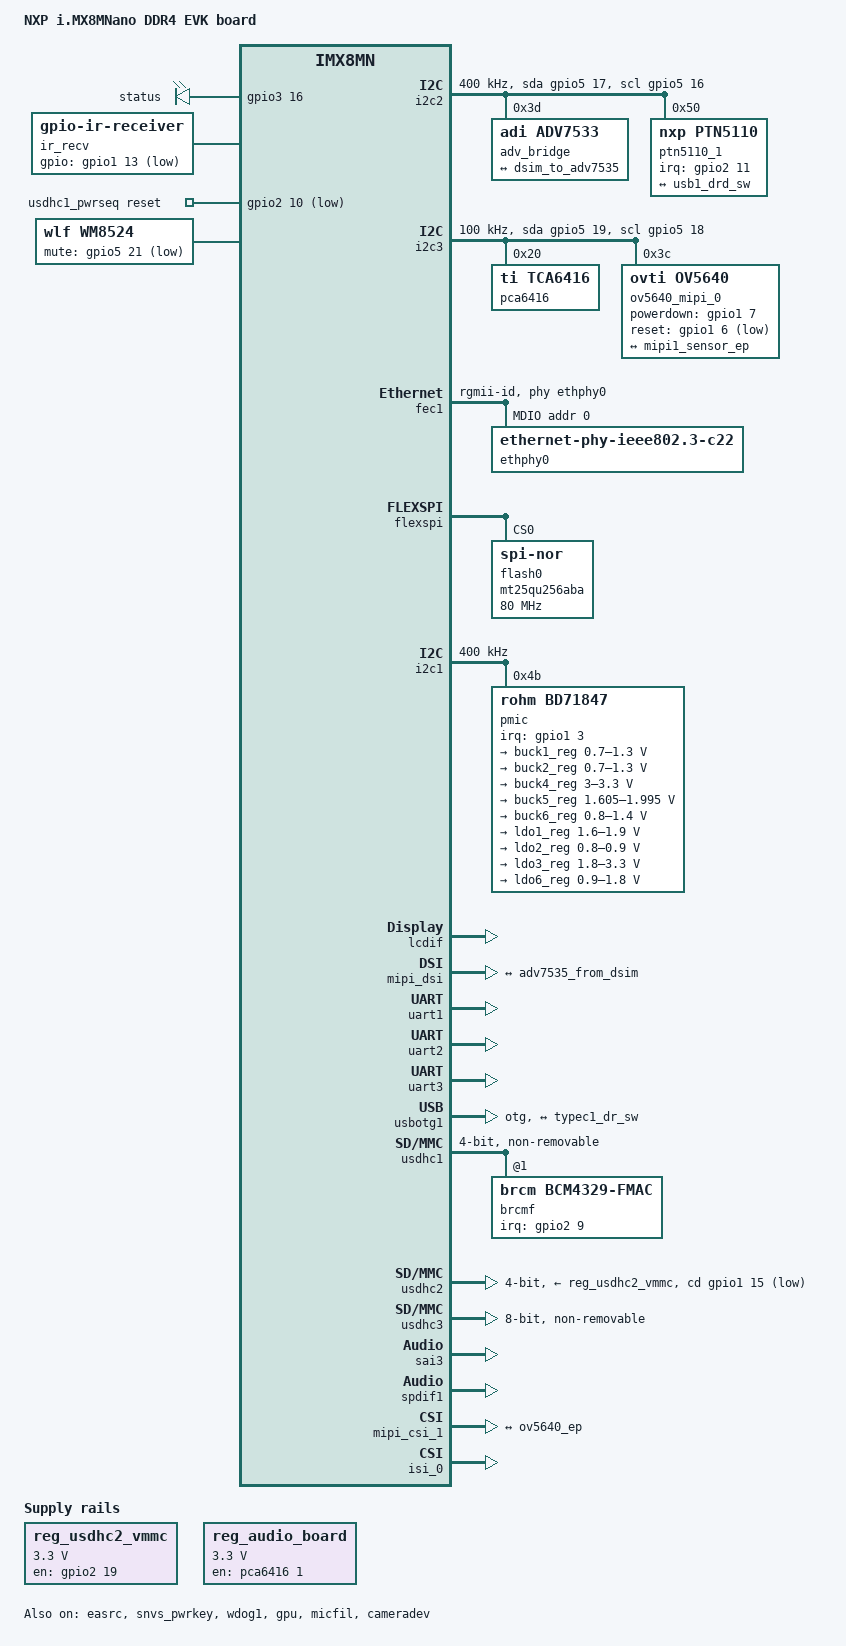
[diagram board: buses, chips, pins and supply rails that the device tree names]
// SPDX-License-Identifier: (GPL-2.0+ OR MIT)
/*
 * Copyright 2019 NXP
 */

/dts-v1/;

#include <dt-bindings/usb/pd.h>
#include "imx8mn.dtsi"

/ {
	trusty {
		compatible = "android,trusty-smc-v1";
		ranges;
		#address-cells = <2>;
		#size-cells = <2>;
		trusty-irq {
			compatible = "android,trusty-irq-v1";
			interrupt-templates = <&trusty_ipi 0>;
			interrupt-ranges = < 0 15 0>;
		};
		trusty-virtio {
			compatible = "android,trusty-virtio-v1";
		};
		trusty-log {
			compatible = "android,trusty-log-v1";
		};
	};
	trusty_ipi: interrupt-controller@0 {
		compatible = "android,CustomIPI";
		interrupt-controller;
		#interrupt-cells = <1>;
	};
};

/ {
	model = "NXP i.MX8MNano DDR4 EVK board";
	compatible = "fsl,imx8mn-ddr4-evk", "fsl,imx8mn";

	chosen {
		stdout-path = &uart2;
	};

	leds {
		compatible = "gpio-leds";
		pinctrl-names = "default";
		pinctrl-0 = <&pinctrl_gpio_led>;

		status {
			label = "status";
			gpios = <&gpio3 16 GPIO_ACTIVE_HIGH>;
			default-state = "on";
		};
	};

	ir_recv: ir-receiver {
		compatible = "gpio-ir-receiver";
		gpios = <&gpio1 13 GPIO_ACTIVE_LOW>;
		pinctrl-names = "default";
		pinctrl-0 = <&pinctrl_ir_recv>;
	};

	usdhc1_pwrseq: usdhc1_pwrseq {
		compatible = "mmc-pwrseq-simple";
		pinctrl-names = "default";
		pinctrl-0 = <&pinctrl_usdhc1_gpio>;
		reset-gpios = <&gpio2 10 GPIO_ACTIVE_LOW>;
	};

	reg_usdhc2_vmmc: regulator-usdhc2 {
		compatible = "regulator-fixed";
		pinctrl-names = "default";
		pinctrl-0 = <&pinctrl_reg_usdhc2_vmmc>;
		regulator-name = "VSD_3V3";
		regulator-min-microvolt = <3300000>;
		regulator-max-microvolt = <3300000>;
		gpio = <&gpio2 19 GPIO_ACTIVE_HIGH>;
		off-on-delay-us = <12000>;
		enable-active-high;
	};

	reg_audio_board: regulator-audio-board {
		compatible = "regulator-fixed";
		regulator-name = "EXT_PWREN";
		regulator-min-microvolt = <3300000>;
		regulator-max-microvolt = <3300000>;
		enable-active-high;
		startup-delay-us = <300000>;
		gpio = <&pca6416 1 GPIO_ACTIVE_HIGH>;
	};

	wm8524: audio-codec {
		#sound-dai-cells = <0>;
		compatible = "wlf,wm8524";
		pinctrl-names = "default";
		pinctrl-0 = <&pinctrl_gpio_wlf>;
		wlf,mute-gpios = <&gpio5 21 GPIO_ACTIVE_LOW>;
		clocks = <&clk IMX8MN_CLK_SAI3_ROOT>;
		clock-names = "mclk";
	};

	sound-wm8524 {
		compatible = "fsl,imx-audio-wm8524";
		model = "wm8524-audio";
		audio-cpu = <&sai3>;
		audio-codec = <&wm8524>;
		audio-routing =
			"Line Out Jack", "LINEVOUTL",
			"Line Out Jack", "LINEVOUTR";
		asrc-controller = <&easrc>;
	};

	sound-micfil {
		compatible = "fsl,imx-audio-micfil";
		model = "imx-audio-micfil";
		cpu-dai = <&micfil>;
	};

	sound-spdif {
		compatible = "fsl,imx-audio-spdif";
		model = "imx-spdif";
		spdif-controller = <&spdif1>;
		spdif-out;
		spdif-in;
	};

	sound-ak5558 {
		compatible = "fsl,imx-audio-ak5558";
		model = "ak5558-audio";
		audio-cpu = <&sai5>;
		audio-codec = <&ak5558>;
		status = "disabled";
	};
};

&clk {
	assigned-clocks = <&clk IMX8MN_AUDIO_PLL1>, <&clk IMX8MN_AUDIO_PLL2>;
	assigned-clock-rates = <393216000>, <361267200>;
};

&easrc {
	fsl,asrc-rate  = <48000>;
	status = "okay";
};

&A53_0 {
	cpu-supply = <&buck2_reg>;
};

&iomuxc {
	pinctrl-names = "default";

	pinctrl_ir_recv: ir-recv {
		fsl,pins = <
			MX8MN_IOMUXC_GPIO1_IO13_GPIO1_IO13              0x4f
		>;
	};

	pinctrl_fec1: fec1grp {
		fsl,pins = <
			MX8MN_IOMUXC_ENET_MDC_ENET1_MDC		0x3
			MX8MN_IOMUXC_ENET_MDIO_ENET1_MDIO	0x3
			MX8MN_IOMUXC_ENET_TD3_ENET1_RGMII_TD3	0x1f
			MX8MN_IOMUXC_ENET_TD2_ENET1_RGMII_TD2	0x1f
			MX8MN_IOMUXC_ENET_TD1_ENET1_RGMII_TD1	0x1f
			MX8MN_IOMUXC_ENET_TD0_ENET1_RGMII_TD0	0x1f
			MX8MN_IOMUXC_ENET_RD3_ENET1_RGMII_RD3	0x91
			MX8MN_IOMUXC_ENET_RD2_ENET1_RGMII_RD2	0x91
			MX8MN_IOMUXC_ENET_RD1_ENET1_RGMII_RD1	0x91
			MX8MN_IOMUXC_ENET_RD0_ENET1_RGMII_RD0	0x91
			MX8MN_IOMUXC_ENET_TXC_ENET1_RGMII_TXC	0x1f
			MX8MN_IOMUXC_ENET_RXC_ENET1_RGMII_RXC	0x91
			MX8MN_IOMUXC_ENET_RX_CTL_ENET1_RGMII_RX_CTL	0x91
			MX8MN_IOMUXC_ENET_TX_CTL_ENET1_RGMII_TX_CTL	0x1f
			MX8MN_IOMUXC_SAI2_RXC_GPIO4_IO22	0x19
		>;
	};

	pinctrl_flexspi0: flexspi0grp {
		fsl,pins = <
			MX8MN_IOMUXC_NAND_ALE_QSPI_A_SCLK 0x1c4
			MX8MN_IOMUXC_NAND_CE0_B_QSPI_A_SS0_B 0x84
			MX8MN_IOMUXC_NAND_DATA00_QSPI_A_DATA0 0x84
			MX8MN_IOMUXC_NAND_DATA01_QSPI_A_DATA1 0x84
			MX8MN_IOMUXC_NAND_DATA02_QSPI_A_DATA2 0x84
			MX8MN_IOMUXC_NAND_DATA03_QSPI_A_DATA3 0x84
		>;
	};

	pinctrl_mipi_dsi_en: mipi_dsi_en {
		fsl,pins = <
			MX8MN_IOMUXC_GPIO1_IO08_GPIO1_IO8		0x16
		>;
	};

	pinctrl_i2c1: i2c1grp {
		fsl,pins = <
			MX8MN_IOMUXC_I2C1_SCL_I2C1_SCL		0x400001c3
			MX8MN_IOMUXC_I2C1_SDA_I2C1_SDA		0x400001c3
		>;
	};

	pinctrl_pmic: pmicirq {
		fsl,pins = <
			MX8MN_IOMUXC_GPIO1_IO03_GPIO1_IO3	0x41
		>;
	};

	pinctrl_gpio_led: gpioledgrp {
		fsl,pins = <
			MX8MN_IOMUXC_NAND_READY_B_GPIO3_IO16	0x19
		>;
	};

	pinctrl_gpio_wlf: gpiowlfgrp {
		fsl,pins = <
			MX8MN_IOMUXC_I2C4_SDA_GPIO5_IO21	0xd6
		>;
	};

	pinctrl_i2c2: i2c2grp {
		fsl,pins = <
			MX8MN_IOMUXC_I2C2_SCL_I2C2_SCL			0x400001c3
			MX8MN_IOMUXC_I2C2_SDA_I2C2_SDA			0x400001c3
		>;
	};

	pinctrl_i2c3: i2c3grp {
		fsl,pins = <
			MX8MN_IOMUXC_I2C3_SCL_I2C3_SCL			0x400001c3
			MX8MN_IOMUXC_I2C3_SDA_I2C3_SDA			0x400001c3
		>;
	};

	pinctrl_i2c2_gpio: i2c2grp-gpio {
		fsl,pins = <
			MX8MN_IOMUXC_I2C2_SCL_GPIO5_IO16		0x1c3
			MX8MN_IOMUXC_I2C2_SDA_GPIO5_IO17		0x1c3
		>;
	};

	pinctrl_i2c3_gpio: i2c3grp-gpio {
		fsl,pins = <
			MX8MN_IOMUXC_I2C3_SCL_GPIO5_IO18		0x1c3
			MX8MN_IOMUXC_I2C3_SDA_GPIO5_IO19		0x1c3
		>;
	};

	pinctrl_i2c2_synaptics_dsx_io: synaptics_dsx_iogrp {
		fsl,pins = <
			MX8MN_IOMUXC_GPIO1_IO09_GPIO1_IO9		0x19
		>;
	};

	pinctrl_pdm: pdmgrp {
		fsl,pins = <
			MX8MN_IOMUXC_SAI5_MCLK_SAI5_MCLK	0xd6
			MX8MN_IOMUXC_SAI5_RXC_PDM_CLK		0xd6
			MX8MN_IOMUXC_SAI5_RXFS_SAI5_RX_SYNC	0xd6
			MX8MN_IOMUXC_SAI5_RXD0_PDM_BIT_STREAM0	0xd6
			MX8MN_IOMUXC_SAI5_RXD1_PDM_BIT_STREAM1	0xd6
			MX8MN_IOMUXC_SAI5_RXD2_PDM_BIT_STREAM2	0xd6
			MX8MN_IOMUXC_SAI5_RXD3_PDM_BIT_STREAM3	0xd6
		>;
	};

	pinctrl_sai3: sai3grp {
		fsl,pins = <
			MX8MN_IOMUXC_SAI3_TXFS_SAI3_TX_SYNC     0xd6
			MX8MN_IOMUXC_SAI3_TXC_SAI3_TX_BCLK      0xd6
			MX8MN_IOMUXC_SAI3_MCLK_SAI3_MCLK        0xd6
			MX8MN_IOMUXC_SAI3_TXD_SAI3_TX_DATA0     0xd6
		>;
	};

	pinctrl_sai5: sai5grp {
		fsl,pins = <
			MX8MN_IOMUXC_SAI5_MCLK_SAI5_MCLK	0xd6
			MX8MN_IOMUXC_SAI5_RXC_SAI5_RX_BCLK	0xd6
			MX8MN_IOMUXC_SAI5_RXFS_SAI5_RX_SYNC	0xd6
			MX8MN_IOMUXC_SAI5_RXD0_SAI5_RX_DATA0	0xd6
			MX8MN_IOMUXC_SAI5_RXD1_SAI5_RX_DATA1    0xd6
			MX8MN_IOMUXC_SAI5_RXD2_SAI5_RX_DATA2    0xd6
			MX8MN_IOMUXC_SAI5_RXD3_SAI5_RX_DATA3    0xd6
		>;
	};

	pinctrl_spdif1: spdif1grp {
		fsl,pins = <
			MX8MN_IOMUXC_SPDIF_TX_SPDIF1_OUT	0xd6
			MX8MN_IOMUXC_SPDIF_RX_SPDIF1_IN		0xd6
		>;
	};

	pinctrl_typec1: typec1grp {
		fsl,pins = <
			MX8MN_IOMUXC_SD1_STROBE_GPIO2_IO11	0x159
		>;
	};

	pinctrl_reg_usdhc2_vmmc: regusdhc2vmmc {
		fsl,pins = <
			MX8MN_IOMUXC_SD2_RESET_B_GPIO2_IO19	0x41
		>;
	};

	pinctrl_uart1: uart1grp {
		fsl,pins = <
			MX8MN_IOMUXC_UART1_RXD_UART1_DCE_RX	0x140
			MX8MN_IOMUXC_UART1_TXD_UART1_DCE_TX	0x140
			MX8MN_IOMUXC_UART3_RXD_UART1_DCE_CTS_B	0x140
			MX8MN_IOMUXC_UART3_TXD_UART1_DCE_RTS_B	0x140
			MX8MN_IOMUXC_SD1_DATA4_GPIO2_IO6	0x19
		>;
	};

	pinctrl_uart2: uart2grp {
		fsl,pins = <
			MX8MN_IOMUXC_UART2_RXD_UART2_DCE_RX	0x140
			MX8MN_IOMUXC_UART2_TXD_UART2_DCE_TX	0x140
		>;
	};

	pinctrl_uart3: uart3grp {
		fsl,pins = <
			MX8MN_IOMUXC_ECSPI1_SCLK_UART3_DCE_RX		0x140
			MX8MN_IOMUXC_ECSPI1_MOSI_UART3_DCE_TX		0x140
			MX8MN_IOMUXC_ECSPI1_SS0_UART3_DCE_RTS_B		0x140
			MX8MN_IOMUXC_ECSPI1_MISO_UART3_DCE_CTS_B	0x140
		>;
	};

	pinctrl_usdhc1_gpio: usdhc1grpgpio {
		fsl,pins = <
			MX8MN_IOMUXC_SD1_RESET_B_GPIO2_IO10	0x41
		>;
	};

	pinctrl_usdhc1: usdhc1grp {
		fsl,pins = <
			MX8MN_IOMUXC_SD1_CLK_USDHC1_CLK		0x190
			MX8MN_IOMUXC_SD1_CMD_USDHC1_CMD		0x1d0
			MX8MN_IOMUXC_SD1_DATA0_USDHC1_DATA0	0x1d0
			MX8MN_IOMUXC_SD1_DATA1_USDHC1_DATA1	0x1d0
			MX8MN_IOMUXC_SD1_DATA2_USDHC1_DATA2	0x1d0
			MX8MN_IOMUXC_SD1_DATA3_USDHC1_DATA3	0x1d0
		>;
	};

	pinctrl_usdhc1_100mhz: usdhc1grp100mhz {
		fsl,pins = <
			MX8MN_IOMUXC_SD1_CLK_USDHC1_CLK		0x194
			MX8MN_IOMUXC_SD1_CMD_USDHC1_CMD		0x1d4
			MX8MN_IOMUXC_SD1_DATA0_USDHC1_DATA0	0x1d4
			MX8MN_IOMUXC_SD1_DATA1_USDHC1_DATA1	0x1d4
			MX8MN_IOMUXC_SD1_DATA2_USDHC1_DATA2	0x1d4
			MX8MN_IOMUXC_SD1_DATA3_USDHC1_DATA3	0x1d4
		>;
	};

	pinctrl_usdhc1_200mhz: usdhc1grp200mhz {
		fsl,pins = <
			MX8MN_IOMUXC_SD1_CLK_USDHC1_CLK		0x196
			MX8MN_IOMUXC_SD1_CMD_USDHC1_CMD		0x1d6
			MX8MN_IOMUXC_SD1_DATA0_USDHC1_DATA0	0x1d6
			MX8MN_IOMUXC_SD1_DATA1_USDHC1_DATA1	0x1d6
			MX8MN_IOMUXC_SD1_DATA2_USDHC1_DATA2	0x1d6
			MX8MN_IOMUXC_SD1_DATA3_USDHC1_DATA3	0x1d6
		>;
	};

	pinctrl_usdhc2_gpio: usdhc2grpgpio {
		fsl,pins = <
			MX8MN_IOMUXC_GPIO1_IO15_GPIO1_IO15	0x1c4
		>;
	};

	pinctrl_usdhc2: usdhc2grp {
		fsl,pins = <
			MX8MN_IOMUXC_SD2_CLK_USDHC2_CLK		0x190
			MX8MN_IOMUXC_SD2_CMD_USDHC2_CMD		0x1d0
			MX8MN_IOMUXC_SD2_DATA0_USDHC2_DATA0	0x1d0
			MX8MN_IOMUXC_SD2_DATA1_USDHC2_DATA1	0x1d0
			MX8MN_IOMUXC_SD2_DATA2_USDHC2_DATA2	0x1d0
			MX8MN_IOMUXC_SD2_DATA3_USDHC2_DATA3	0x1d0
			MX8MN_IOMUXC_GPIO1_IO04_USDHC2_VSELECT	0x1d0
		>;
	};

	pinctrl_usdhc2_100mhz: usdhc2grp100mhz {
		fsl,pins = <
			MX8MN_IOMUXC_SD2_CLK_USDHC2_CLK		0x194
			MX8MN_IOMUXC_SD2_CMD_USDHC2_CMD		0x1d4
			MX8MN_IOMUXC_SD2_DATA0_USDHC2_DATA0	0x1d4
			MX8MN_IOMUXC_SD2_DATA1_USDHC2_DATA1	0x1d4
			MX8MN_IOMUXC_SD2_DATA2_USDHC2_DATA2	0x1d4
			MX8MN_IOMUXC_SD2_DATA3_USDHC2_DATA3	0x1d4
			MX8MN_IOMUXC_GPIO1_IO04_USDHC2_VSELECT	0x1d0
		>;
	};

	pinctrl_usdhc2_200mhz: usdhc2grp200mhz {
		fsl,pins = <
			MX8MN_IOMUXC_SD2_CLK_USDHC2_CLK		0x196
			MX8MN_IOMUXC_SD2_CMD_USDHC2_CMD		0x1d6
			MX8MN_IOMUXC_SD2_DATA0_USDHC2_DATA0	0x1d6
			MX8MN_IOMUXC_SD2_DATA1_USDHC2_DATA1	0x1d6
			MX8MN_IOMUXC_SD2_DATA2_USDHC2_DATA2	0x1d6
			MX8MN_IOMUXC_SD2_DATA3_USDHC2_DATA3	0x1d6
			MX8MN_IOMUXC_GPIO1_IO04_USDHC2_VSELECT	0x1d0
		>;
	};

	pinctrl_usdhc3: usdhc3grp {
		fsl,pins = <
			MX8MN_IOMUXC_NAND_WE_B_USDHC3_CLK		0x40000190
			MX8MN_IOMUXC_NAND_WP_B_USDHC3_CMD		0x1d0
			MX8MN_IOMUXC_NAND_DATA04_USDHC3_DATA0		0x1d0
			MX8MN_IOMUXC_NAND_DATA05_USDHC3_DATA1		0x1d0
			MX8MN_IOMUXC_NAND_DATA06_USDHC3_DATA2		0x1d0
			MX8MN_IOMUXC_NAND_DATA07_USDHC3_DATA3		0x1d0
			MX8MN_IOMUXC_NAND_RE_B_USDHC3_DATA4		0x1d0
			MX8MN_IOMUXC_NAND_CE2_B_USDHC3_DATA5		0x1d0
			MX8MN_IOMUXC_NAND_CE3_B_USDHC3_DATA6		0x1d0
			MX8MN_IOMUXC_NAND_CLE_USDHC3_DATA7		0x1d0
			MX8MN_IOMUXC_NAND_CE1_B_USDHC3_STROBE		0x190
		>;
	};

	pinctrl_usdhc3_100mhz: usdhc3grp100mhz {
		fsl,pins = <
			MX8MN_IOMUXC_NAND_WE_B_USDHC3_CLK		0x40000194
			MX8MN_IOMUXC_NAND_WP_B_USDHC3_CMD		0x1d4
			MX8MN_IOMUXC_NAND_DATA04_USDHC3_DATA0		0x1d4
			MX8MN_IOMUXC_NAND_DATA05_USDHC3_DATA1		0x1d4
			MX8MN_IOMUXC_NAND_DATA06_USDHC3_DATA2		0x1d4
			MX8MN_IOMUXC_NAND_DATA07_USDHC3_DATA3		0x1d4
			MX8MN_IOMUXC_NAND_RE_B_USDHC3_DATA4		0x1d4
			MX8MN_IOMUXC_NAND_CE2_B_USDHC3_DATA5		0x1d4
			MX8MN_IOMUXC_NAND_CE3_B_USDHC3_DATA6		0x1d4
			MX8MN_IOMUXC_NAND_CLE_USDHC3_DATA7		0x1d4
			MX8MN_IOMUXC_NAND_CE1_B_USDHC3_STROBE		0x194
		>;
	};

	pinctrl_usdhc3_200mhz: usdhc3grp200mhz {
		fsl,pins = <
			MX8MN_IOMUXC_NAND_WE_B_USDHC3_CLK		0x40000196
			MX8MN_IOMUXC_NAND_WP_B_USDHC3_CMD		0x1d6
			MX8MN_IOMUXC_NAND_DATA04_USDHC3_DATA0		0x1d6
			MX8MN_IOMUXC_NAND_DATA05_USDHC3_DATA1		0x1d6
			MX8MN_IOMUXC_NAND_DATA06_USDHC3_DATA2		0x1d6
			MX8MN_IOMUXC_NAND_DATA07_USDHC3_DATA3		0x1d6
			MX8MN_IOMUXC_NAND_RE_B_USDHC3_DATA4		0x1d6
			MX8MN_IOMUXC_NAND_CE2_B_USDHC3_DATA5		0x1d6
			MX8MN_IOMUXC_NAND_CE3_B_USDHC3_DATA6		0x1d6
			MX8MN_IOMUXC_NAND_CLE_USDHC3_DATA7		0x1d6
			MX8MN_IOMUXC_NAND_CE1_B_USDHC3_STROBE		0x196
		>;
	};

	pinctrl_wdog: wdoggrp {
		fsl,pins = <
			MX8MN_IOMUXC_GPIO1_IO02_WDOG1_WDOG_B		0xc6
		>;
	};

	pinctrl_wlan: wlangrp {
		fsl,pins = <
			MX8MN_IOMUXC_GPIO1_IO00_ANAMIX_REF_CLK_32K	0x141
			MX8MN_IOMUXC_SD1_DATA7_GPIO2_IO9		0x111
		>;
	};

	pinctrl_csi_pwn: csi_pwn_grp {
		fsl,pins = <
			MX8MN_IOMUXC_GPIO1_IO07_GPIO1_IO7		0x19
		>;
	};

	pinctrl_csi_rst: csi_rst_grp {
		fsl,pins = <
			MX8MN_IOMUXC_GPIO1_IO06_GPIO1_IO6		0x19
			MX8MN_IOMUXC_GPIO1_IO14_CCMSRCGPCMIX_CLKO1	0x59
		>;
	};
};

&i2c2 {
	clock-frequency = <400000>;
	pinctrl-names = "default", "gpio";
	pinctrl-0 = <&pinctrl_i2c2>;
	pinctrl-1 = <&pinctrl_i2c2_gpio>;
	scl-gpios = <&gpio5 16 GPIO_ACTIVE_HIGH>;
	sda-gpios = <&gpio5 17 GPIO_ACTIVE_HIGH>;
	status = "okay";

	adv_bridge: adv7535@3d {
		compatible = "adi,adv7533";
		reg = <0x3d>;
		adi,addr-cec = <0x3b>;
		adi,dsi-lanes = <4>;
		status = "okay";

		port {
			adv7535_from_dsim: endpoint {
				remote-endpoint = <&dsim_to_adv7535>;
			};
		};
	};

	ptn5110_1: tcpc@50 {
		compatible = "nxp,ptn5110";
		pinctrl-names = "default";
		pinctrl-0 = <&pinctrl_typec1>;
		reg = <0x50>;
		interrupt-parent = <&gpio2>;
		interrupts = <11 8>;
		status = "okay";

		port {
			typec1_dr_sw: endpoint {
				remote-endpoint = <&usb1_drd_sw>;
			};
		};

		typec1_con: connector {
			compatible = "usb-c-connector";
			label = "USB-C";
			power-role = "dual";
			data-role = "dual";
			try-power-role = "sink";
			source-pdos = <PDO_FIXED(5000, 3000, PDO_FIXED_USB_COMM)>;
			sink-pdos = <PDO_FIXED(5000, 3000, PDO_FIXED_USB_COMM)
				     PDO_VAR(5000, 20000, 3000)>;
			op-sink-microwatt = <15000000>;
			self-powered;
		};
	};
};

&i2c3 {
	clock-frequency = <100000>;
	pinctrl-names = "default", "gpio";
	pinctrl-0 = <&pinctrl_i2c3>;
	pinctrl-1 = <&pinctrl_i2c3_gpio>;
	scl-gpios = <&gpio5 18 GPIO_ACTIVE_HIGH>;
	sda-gpios = <&gpio5 19 GPIO_ACTIVE_HIGH>;
	status = "okay";

	pca6416: gpio@20 {
		compatible = "ti,tca6416";
		reg = <0x20>;
		gpio-controller;
		#gpio-cells = <2>;
	};

	ak4458_1: ak4458@10 {
		compatible = "asahi-kasei,ak4458";
		reg = <0x10>;
		AVDD-supply = <&reg_audio_board>;
		DVDD-supply = <&reg_audio_board>;
		status = "disabled";
	};

	ak4458_2: ak4458@12 {
		compatible = "asahi-kasei,ak4458";
		reg = <0x12>;
		AVDD-supply = <&reg_audio_board>;
		DVDD-supply = <&reg_audio_board>;
		status = "disabled";
	};

	ak5558: ak5558@13 {
		compatible = "asahi-kasei,ak5558";
		reg = <0x13>;
		ak5558,pdn-gpio = <&pca6416 3 GPIO_ACTIVE_HIGH>;
		AVDD-supply = <&reg_audio_board>;
		DVDD-supply = <&reg_audio_board>;
		status = "disabled";
	};

	ak4497: ak4497@11 {
		compatible = "asahi-kasei,ak4497";
		reg = <0x11>;
		ak4497,pdn-gpio = <&pca6416 5 GPIO_ACTIVE_HIGH>;
		AVDD-supply = <&reg_audio_board>;
		DVDD-supply = <&reg_audio_board>;
		status = "disabled";
	};

	ov5640_mipi_0: ov5640_mipi@3c {
		compatible = "ovti,ov5640";
		reg = <0x3c>;
		pinctrl-names = "default";
		pinctrl-0 = <&pinctrl_csi_pwn>, <&pinctrl_csi_rst>;
		clocks = <&clk IMX8MN_CLK_CLKO1>;
		clock-names = "xclk";
		assigned-clocks = <&clk IMX8MN_CLK_CLKO1>;
		assigned-clock-parents = <&clk IMX8MN_CLK_24M>;
		assigned-clock-rates = <24000000>;
		csi_id = <0>;
		powerdown-gpios = <&gpio1 7 GPIO_ACTIVE_HIGH>;
		reset-gpios = <&gpio1 6 GPIO_ACTIVE_LOW>;
		mclk = <24000000>;
		mclk_source = <0>;
		mipi_csi;
		status = "okay";
		port {
			ov5640_ep: endpoint {
				remote-endpoint = <&mipi1_sensor_ep>;
				data-lanes = <1 2>;
				clocks-lanes = <0>;
			};
		};
	};
};

&fec1 {
	pinctrl-names = "default";
	pinctrl-0 = <&pinctrl_fec1>;
	phy-mode = "rgmii-id";
	phy-handle = <&ethphy0>;
	fsl,magic-packet;
	status = "okay";

	mdio {
		#address-cells = <1>;
		#size-cells = <0>;

		ethphy0: ethernet-phy@0 {
			compatible = "ethernet-phy-ieee802.3-c22";
			reg = <0>;
			at803x,led-act-blind-workaround;
			at803x,eee-disabled;
			at803x,vddio-1p8v;
		};
	};
};

&flexspi {
	pinctrl-names = "default";
	pinctrl-0 = <&pinctrl_flexspi0>;
	status = "okay";

	flash0: mt25qu256aba@0 {
		reg = <0>;
		compatible = "jedec,spi-nor";
		spi-max-frequency = <80000000>;
		spi-tx-bus-width = <4>;
		spi-rx-bus-width = <4>;
	};
};

&i2c1 {
	clock-frequency = <400000>;
	pinctrl-names = "default";
	pinctrl-0 = <&pinctrl_i2c1>;
	status = "okay";

	pmic@4b {
		compatible = "rohm,bd71847";
		reg = <0x4b>;
		pinctrl-0 = <&pinctrl_pmic>;
		interrupt-parent = <&gpio1>;
		interrupts = <3 GPIO_ACTIVE_LOW>;
		rohm,reset-snvs-powered;

		regulators {
			buck1_reg: BUCK1 {
				regulator-name = "BUCK1";
				regulator-min-microvolt = <700000>;
				regulator-max-microvolt = <1300000>;
				regulator-boot-on;
				regulator-always-on;
				regulator-ramp-delay = <1250>;
			};

			buck2_reg: BUCK2 {
				regulator-name = "BUCK2";
				regulator-min-microvolt = <700000>;
				regulator-max-microvolt = <1300000>;
				regulator-boot-on;
				regulator-always-on;
				regulator-ramp-delay = <1250>;
				rohm,dvs-run-voltage = <1000000>;
				rohm,dvs-idle-voltage = <900000>;
			};

			buck4_reg: BUCK4 {
				// BUCK6 in datasheet
				regulator-name = "BUCK4";
				regulator-min-microvolt = <3000000>;
				regulator-max-microvolt = <3300000>;
				regulator-boot-on;
				regulator-always-on;
			};

			buck5_reg: BUCK5 {
				// BUCK7 in datasheet
				regulator-name = "BUCK5";
				regulator-min-microvolt = <1605000>;
				regulator-max-microvolt = <1995000>;
				regulator-boot-on;
				regulator-always-on;
			};

			buck6_reg: BUCK6 {
				// BUCK8 in datasheet
				regulator-name = "BUCK6";
				regulator-min-microvolt = <800000>;
				regulator-max-microvolt = <1400000>;
				regulator-boot-on;
				regulator-always-on;
			};

			ldo1_reg: LDO1 {
				regulator-name = "LDO1";
				regulator-min-microvolt = <1600000>;
				regulator-max-microvolt = <1900000>;
				regulator-boot-on;
				regulator-always-on;
			};

			ldo2_reg: LDO2 {
				regulator-name = "LDO2";
				regulator-min-microvolt = <800000>;
				regulator-max-microvolt = <900000>;
				regulator-boot-on;
				regulator-always-on;
			};

			ldo3_reg: LDO3 {
				regulator-name = "LDO3";
				regulator-min-microvolt = <1800000>;
				regulator-max-microvolt = <3300000>;
				regulator-boot-on;
				regulator-always-on;
			};

			ldo6_reg: LDO6 {
				regulator-name = "LDO6";
				regulator-min-microvolt = <900000>;
				regulator-max-microvolt = <1800000>;
				regulator-boot-on;
				regulator-always-on;
			};
		};
	};
};

&lcdif {
	status = "okay";
};

&mipi_dsi {
	status = "okay";

	port@1 {
		dsim_to_adv7535: endpoint {
			remote-endpoint = <&adv7535_from_dsim>;
			attach-bridge;
		};
	};
};

&snvs_pwrkey {
	status = "okay";
};

&uart1 { /* BT */
	pinctrl-names = "default";
	pinctrl-0 = <&pinctrl_uart1>;
	assigned-clocks = <&clk IMX8MN_CLK_UART1>;
	assigned-clock-parents = <&clk IMX8MN_SYS_PLL1_80M>;
	fsl,uart-has-rtscts;
	status = "okay";
};

&uart2 { /* console */
	pinctrl-names = "default";
	pinctrl-0 = <&pinctrl_uart2>;
	status = "okay";
};

&uart3 {
	pinctrl-names = "default";
	pinctrl-0 = <&pinctrl_uart3>;
	assigned-clocks = <&clk IMX8MN_CLK_UART3>;
	assigned-clock-parents = <&clk IMX8MN_SYS_PLL1_80M>;
	fsl,uart-has-rtscts;
	status = "okay";
};

&usbotg1 {
	picophy,pre-emp-curr-control = <3>;
	picophy,dc-vol-level-adjust = <7>;
	dr_mode = "otg";
	hnp-disable;
	srp-disable;
	adp-disable;
	usb-role-switch;
	status = "okay";

	port {
		usb1_drd_sw: endpoint {
			remote-endpoint = <&typec1_dr_sw>;
		};
	};
};

&usdhc1 {
	#address-cells = <1>;
	#size-cells = <0>;
	pinctrl-names = "default", "state_100mhz", "state_200mhz";
	pinctrl-0 = <&pinctrl_usdhc1>, <&pinctrl_wlan>;
	pinctrl-1 = <&pinctrl_usdhc1_100mhz>, <&pinctrl_wlan>;
	pinctrl-2 = <&pinctrl_usdhc1_200mhz>, <&pinctrl_wlan>;
	bus-width = <4>;
	pm-ignore-notify;
	keep-power-in-suspend;
	non-removable;
	cap-power-off-card;
	/delete-property/ vmmc-supply;
	mmc-pwrseq = <&usdhc1_pwrseq>;
	status = "okay";

	brcmf: bcrmf@1 {
		reg = <1>;
		compatible = "brcm,bcm4329-fmac";
		interrupt-parent = <&gpio2>;
		interrupts = <9 IRQ_TYPE_LEVEL_HIGH>;
		interrupt-names = "host-wake";
	};
};

&usdhc2 {
	pinctrl-names = "default", "state_100mhz", "state_200mhz";
	pinctrl-0 = <&pinctrl_usdhc2>, <&pinctrl_usdhc2_gpio>;
	pinctrl-1 = <&pinctrl_usdhc2_100mhz>, <&pinctrl_usdhc2_gpio>;
	pinctrl-2 = <&pinctrl_usdhc2_200mhz>, <&pinctrl_usdhc2_gpio>;
	cd-gpios = <&gpio1 15 GPIO_ACTIVE_LOW>;
	bus-width = <4>;
	vmmc-supply = <&reg_usdhc2_vmmc>;
	status = "okay";
};

&usdhc3 {
	pinctrl-names = "default", "state_100mhz", "state_200mhz";
	pinctrl-0 = <&pinctrl_usdhc3>;
	pinctrl-1 = <&pinctrl_usdhc3_100mhz>;
	pinctrl-2 = <&pinctrl_usdhc3_200mhz>;
	bus-width = <8>;
	non-removable;
	status = "okay";
};

&wdog1 {
	pinctrl-names = "default";
	pinctrl-0 = <&pinctrl_wdog>;
	fsl,ext-reset-output;
	status = "okay";
};

&gpu {
	assigned-clocks = <&clk IMX8MN_CLK_GPU_CORE_SRC>,
			<&clk IMX8MN_CLK_GPU_SHADER_SRC>,
			<&clk IMX8MN_CLK_GPU_AXI>,
			<&clk IMX8MN_CLK_GPU_AHB>,
			<&clk IMX8MN_GPU_PLL>,
			<&clk IMX8MN_CLK_GPU_CORE_DIV>,
			<&clk IMX8MN_CLK_GPU_SHADER_DIV>;
	assigned-clock-parents = <&clk IMX8MN_GPU_PLL_OUT>,
			<&clk IMX8MN_GPU_PLL_OUT>,
			<&clk IMX8MN_SYS_PLL1_800M>,
			<&clk IMX8MN_SYS_PLL1_800M>;
	assigned-clock-rates = <0>, <0>, <800000000>, <400000000>, <1200000000>,
			<400000000>, <400000000>;
	status= "okay";
};

&micfil {
	pinctrl-names = "default";
	pinctrl-0 = <&pinctrl_pdm>;
	assigned-clocks = <&clk IMX8MN_CLK_PDM>;
	assigned-clock-parents = <&clk IMX8MN_AUDIO_PLL1_OUT>;
	assigned-clock-rates = <196608000>;
	status = "okay";
};

&sai3 {
	pinctrl-names = "default";
	pinctrl-0 = <&pinctrl_sai3>;
	assigned-clocks = <&clk IMX8MN_CLK_SAI3>;
	assigned-clock-parents = <&clk IMX8MN_AUDIO_PLL1_OUT>;
	assigned-clock-rates = <24576000>;
	status = "okay";
};

&sai5 {
	pinctrl-names = "default";
	pinctrl-0 = <&pinctrl_sai5>;
	assigned-clocks = <&clk IMX8MN_CLK_SAI5>;
	assigned-clock-parents = <&clk IMX8MN_AUDIO_PLL1_OUT>;
	assigned-clock-rates = <49152000>;
	clocks = <&clk IMX8MN_CLK_SAI5_IPG>, <&clk IMX8MN_CLK_DUMMY>,
		<&clk IMX8MN_CLK_SAI5_ROOT>, <&clk IMX8MN_CLK_DUMMY>,
		<&clk IMX8MN_CLK_DUMMY>, <&clk IMX8MN_AUDIO_PLL1_OUT>,
		<&clk IMX8MN_AUDIO_PLL2_OUT>;
	clock-names = "bus", "mclk0", "mclk1", "mclk2", "mclk3", "pll8k", "pll11k";
	fsl,sai-asynchronous;
	status = "disabled";
};

&spdif1 {
	pinctrl-names = "default";
	pinctrl-0 = <&pinctrl_spdif1>;
	assigned-clocks = <&clk IMX8MN_CLK_SPDIF1>;
	assigned-clock-parents = <&clk IMX8MN_AUDIO_PLL1_OUT>;
	assigned-clock-rates = <24576000>;
	clocks = <&clk IMX8MN_CLK_AUDIO_AHB>, <&clk IMX8MN_CLK_24M>,
		<&clk IMX8MN_CLK_SPDIF1>, <&clk IMX8MN_CLK_DUMMY>,
		<&clk IMX8MN_CLK_DUMMY>, <&clk IMX8MN_CLK_DUMMY>,
		<&clk IMX8MN_CLK_AUDIO_AHB>, <&clk IMX8MN_CLK_DUMMY>,
		<&clk IMX8MN_CLK_DUMMY>, <&clk IMX8MN_CLK_DUMMY>,
		<&clk IMX8MN_AUDIO_PLL1_OUT>, <&clk IMX8MN_AUDIO_PLL2_OUT>;
	clock-names = "core", "rxtx0", "rxtx1", "rxtx2", "rxtx3",
		"rxtx4", "rxtx5", "rxtx6", "rxtx7", "spba", "pll8k", "pll11k";
	status = "okay";
};

&mipi_csi_1 {
	#address-cells = <1>;
	#size-cells = <0>;
	status = "okay";
	port@0 {
		reg = <0>;
		mipi1_sensor_ep: endpoint {
			remote-endpoint = <&ov5640_ep>;
			data-lanes = <2>;
			csis-hs-settle = <13>;
			csis-clk-settle = <2>;
			csis-wclk;
		};
	};
};

&isi_0 {
	status = "okay";

	cap_device {
		status = "okay";
	};
};

&cameradev {
	status = "okay";
};
